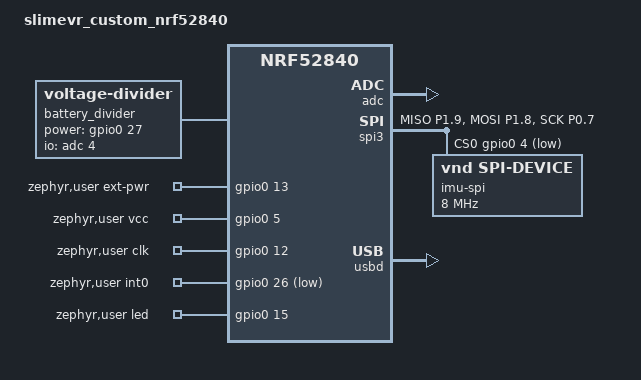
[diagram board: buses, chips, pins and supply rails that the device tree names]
/dts-v1/;
#include <nordic/nrf52840_qiaa.dtsi>

&pinctrl {
	spi3_default: spi3_default {
		group1 {
			psels = <NRF_PSEL(SPIM_MISO, 1, 9)>,
					<NRF_PSEL(SPIM_MOSI, 1, 8)>,
					<NRF_PSEL(SPIM_SCK,  0, 7)>;
		};
	};
	spi3_sleep: spi3_sleep {
		group1 {
			psels = <NRF_PSEL(SPIM_MISO, 1, 9)>,
					<NRF_PSEL(SPIM_MOSI, 1, 8)>,
					<NRF_PSEL(SPIM_SCK,  0, 7)>;
			low-power-enable;
		};
	};
};

/ {
	model = "slimevr_custom_nrf52840";
	compatible = "nordic,nrf52840-qiaa";

	chosen {
		zephyr,sram = &sram0;
		zephyr,flash = &flash0;
		zephyr,console = &cdc_acm_uart0;
		zephyr,shell-uart = &cdc_acm_uart0;
	};

	aliases {
		imu = &imu_spi;
	};

	/* Имя узла должно быть СТРОГО battery_divider для твоего battery.c */
	battery_divider: battery_divider {
		compatible = "voltage-divider";
		status = "okay";
		io-channels = <&adc 4>; 
		output-ohms = <10000000>; /* Свойства должны быть с 's' на конце */
		full-ohms = <20000000>;
		power-gpios = <&gpio0 27 GPIO_ACTIVE_HIGH>; /* Код сам будет включать P0.27 перед замером */
	};

	zephyr,user {
		/* Убираем отсюда io-channels, так как код ищет их в battery_divider */
		ext-pwr-gpios = <&gpio0 13 GPIO_ACTIVE_HIGH>;
		vcc-gpios = <&gpio0 5 GPIO_ACTIVE_HIGH>;
		clk-gpios = <&gpio0 12 GPIO_OPEN_DRAIN>;
		int0-gpios = <&gpio0 26 (GPIO_PULL_UP | GPIO_ACTIVE_LOW)>;
		led-gpios = <&gpio0 15 GPIO_ACTIVE_HIGH>;
	};
};

&adc {
	status = "okay";
};

&spi3 {
	compatible = "nordic,nrf-spim";
	status = "okay";
	max-frequency = <DT_FREQ_M(8)>; 
	pinctrl-0 = <&spi3_default>;
	pinctrl-1 = <&spi3_sleep>;
	pinctrl-names = "default", "sleep";
	cs-gpios = <&gpio0 4 GPIO_ACTIVE_LOW>;

	imu_spi: imu_spi@0 {
		compatible = "vnd,spi-device";
		spi-max-frequency = <8000000>;
		label = "imu-spi";
		reg = <0>;
	};
};

/* Включаем всё остальное */
&gpio0 { status = "okay"; };
&gpio1 { status = "okay"; };
&usbd { status = "okay"; cdc_acm_uart0: cdc_acm_uart0 { compatible = "zephyr,cdc-acm-uart"; }; };
